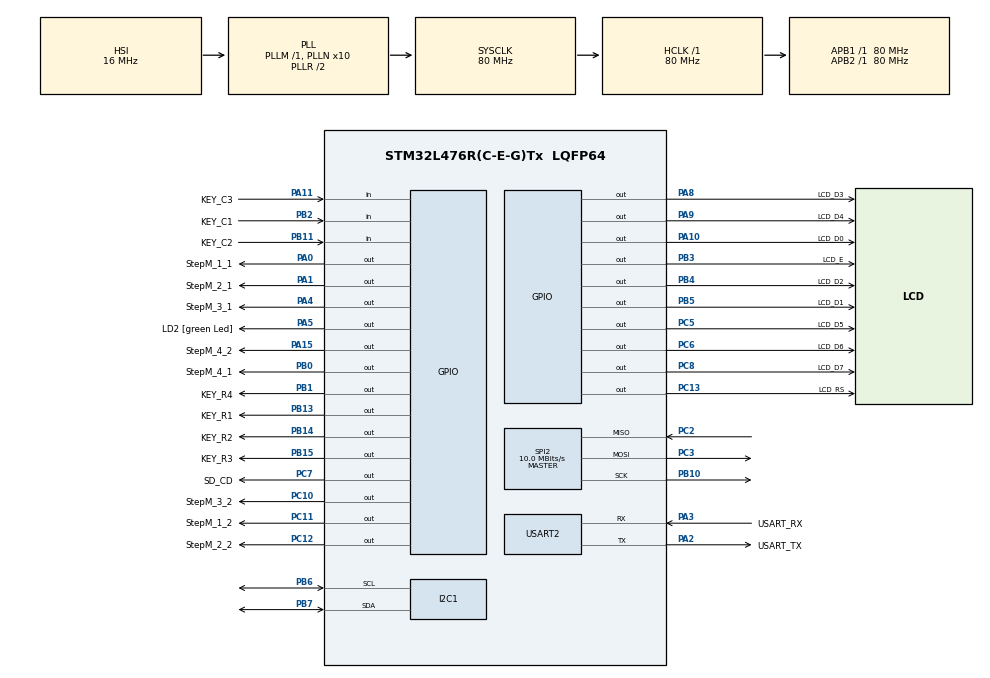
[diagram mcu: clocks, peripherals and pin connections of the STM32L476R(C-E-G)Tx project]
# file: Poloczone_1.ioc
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FATFS._MAX_SS=4096
FATFS._USE_LFN=1
I2C1.Timing=0x10909CEC
Mcu.Family=STM32L4
Mcu.Name=STM32L476R(C-E-G)Tx
Mcu.Package=LQFP64
Mcu.UserConstants=TIM6_PRESCALER,7999;TIM6_PERIOD,9
NVIC.PriorityGroup=NVIC_PRIORITYGROUP_4
NVIC.SPI2_IRQn=true\:0\:0\:false\:false\:true\:true\:true
NVIC.TIM6_DAC_IRQn=true\:0\:0\:false\:false\:true\:true\:true
PA0.GPIO_Label=StepM_1_1
PA0.Signal=GPIO_Output
PA1.GPIO_Label=StepM_2_1
PA1.Signal=GPIO_Output
PA10.GPIO_Label=LCD_D0
PA10.Signal=GPIO_Output
PA11.GPIO_Label=KEY_C3
PA11.GPIO_PuPd=GPIO_PULLUP
PA11.Signal=GPIO_Input
PA13\ (JTMS-SWDIO).GPIO_Label=TMS
PA13\ (JTMS-SWDIO).Mode=Serial_Wire
PA13\ (JTMS-SWDIO).Signal=SYS_JTMS-SWDIO
PA14\ (JTCK-SWCLK).GPIO_Label=TCK
PA14\ (JTCK-SWCLK).Mode=Serial_Wire
PA14\ (JTCK-SWCLK).Signal=SYS_JTCK-SWCLK
PA15\ (JTDI).GPIO_Label=StepM_4_2
PA15\ (JTDI).Signal=GPIO_Output
PA2.GPIO_Label=USART_TX
PA2.GPIO_Mode=GPIO_MODE_AF_PP
PA2.GPIO_PuPd=GPIO_NOPULL
PA2.GPIO_Speed=GPIO_SPEED_FREQ_VERY_HIGH
PA2.Mode=Asynchronous
PA2.Signal=USART2_TX
PA3.GPIO_Label=USART_RX
PA3.GPIO_Mode=GPIO_MODE_AF_PP
PA3.GPIO_PuPd=GPIO_NOPULL
PA3.GPIO_Speed=GPIO_SPEED_FREQ_VERY_HIGH
PA3.Mode=Asynchronous
PA3.Signal=USART2_RX
PA4.GPIO_Label=StepM_3_1
PA4.Signal=GPIO_Output
PA5.GPIO_Label=LD2 [green Led]
PA5.GPIO_ModeDefaultOutputPP=GPIO_MODE_OUTPUT_PP
PA5.GPIO_PuPd=GPIO_NOPULL
PA5.GPIO_Speed=GPIO_SPEED_FREQ_LOW
PA5.Signal=GPIO_Output
PA8.GPIO_Label=LCD_D3
PA8.Signal=GPIO_Output
PA9.GPIO_Label=LCD_D4
PA9.Signal=GPIO_Output
PB0.GPIO_Label=StepM_4_1
PB0.Signal=GPIO_Output
PB1.GPIO_Label=KEY_R4
PB1.Signal=GPIO_Output
PB10.Mode=Full_Duplex_Master
PB10.Signal=SPI2_SCK
PB11.GPIO_Label=KEY_C2
PB11.GPIO_PuPd=GPIO_PULLUP
PB11.Signal=GPIO_Input
PB13.GPIO_Label=KEY_R1
PB13.Signal=GPIO_Output
PB14.GPIO_Label=KEY_R2
PB14.Signal=GPIO_Output
PB15.GPIO_Label=KEY_R3
PB15.Signal=GPIO_Output
PB2.GPIO_Label=KEY_C1
PB2.GPIO_PuPd=GPIO_PULLUP
PB2.Signal=GPIO_Input
PB3\ (JTDO-TRACESWO).GPIO_Label=LCD_E
PB3\ (JTDO-TRACESWO).Signal=GPIO_Output
PB4\ (NJTRST).GPIO_Label=LCD_D2
PB4\ (NJTRST).Signal=GPIO_Output
PB5.GPIO_Label=LCD_D1
PB5.Signal=GPIO_Output
PB6.Mode=I2C
PB6.Signal=I2C1_SCL
PB7.Mode=I2C
PB7.Signal=I2C1_SDA
PC10.GPIO_Label=StepM_3_2
PC10.Signal=GPIO_Output
PC11.GPIO_Label=StepM_1_2
PC11.Signal=GPIO_Output
PC12.GPIO_Label=StepM_2_2
PC12.Signal=GPIO_Output
PC13.GPIO_Label=LCD_RS
PC13.Signal=GPIO_Output
PC14-OSC32_IN\ (PC14).Mode=LSE-External-Oscillator
PC14-OSC32_IN\ (PC14).Signal=RCC_OSC32_IN
PC15-OSC32_OUT\ (PC15).Mode=LSE-External-Oscillator
PC15-OSC32_OUT\ (PC15).Signal=RCC_OSC32_OUT
PC2.Mode=Full_Duplex_Master
PC2.Signal=SPI2_MISO
PC3.Mode=Full_Duplex_Master
PC3.Signal=SPI2_MOSI
PC5.GPIO_Label=LCD_D5
PC5.Signal=GPIO_Output
PC6.GPIO_Label=LCD_D6
PC6.Signal=GPIO_Output
PC7.GPIO_Label=SD_CD
PC7.GPIO_Speed=GPIO_SPEED_FREQ_MEDIUM
PC7.PinState=GPIO_PIN_SET
PC7.Signal=GPIO_Output
PC8.GPIO_Label=LCD_D7
PC8.Signal=GPIO_Output
PH0-OSC_IN\ (PH0).Signal=RCC_OSC_IN
PH1-OSC_OUT\ (PH1).Signal=RCC_OSC_OUT
ProjectManager.HeapSize=0x200
ProjectManager.StackSize=0x400
ProjectManager.TargetToolchain=STM32CubeIDE
RCC.ADCFreq_Value=64000000
RCC.AHBFreq_Value=80000000
RCC.APB1Freq_Value=80000000
RCC.APB1TimFreq_Value=80000000
RCC.APB2Freq_Value=80000000
RCC.APB2TimFreq_Value=80000000
RCC.CortexFreq_Value=80000000
RCC.HCLKFreq_Value=80000000
RCC.HSE_VALUE=8000000
RCC.HSI_VALUE=16000000
RCC.MSI_VALUE=4000000
RCC.PLLN=10
RCC.PLLSourceVirtual=RCC_PLLSOURCE_HSI
RCC.PREFETCH_ENABLE=1
RCC.SYSCLKFreq_VALUE=80000000
RCC.SYSCLKSource=RCC_SYSCLKSOURCE_PLLCLK
RCC.USBFreq_Value=64000000
RCC.VCOOutputFreq_Value=160000000
SPI2.BaudRatePrescaler=SPI_BAUDRATEPRESCALER_8
SPI2.CalculateBaudRate=10.0 MBits/s
SPI2.DataSize=SPI_DATASIZE_8BIT
SPI2.Direction=SPI_DIRECTION_2LINES
SPI2.Mode=SPI_MODE_MASTER
SPI2.VirtualType=VM_MASTER
TIM6.AutoReloadPreload=TIM_AUTORELOAD_PRELOAD_ENABLE
TIM6.Period=TIM6_PERIOD
TIM6.Prescaler=TIM6_PRESCALER
USART2.VirtualMode-Asynchronous=VM_ASYNC
VP_FATFS_VS_Generic.Mode=User_defined
VP_TIM6_VS_ClockSourceINT.Mode=Enable_Timer
board=NUCLEO-L476RG

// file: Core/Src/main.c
/* USER CODE BEGIN Header */
/**
  ******************************************************************************
  * @file           : main.c
  * @brief          : Main program body
  ******************************************************************************
  * @attention
  *
  * <h2><center>&copy; Copyright (c) 2022 STMicroelectronics.
  * All rights reserved.</center></h2>
  *
  * This software component is licensed by ST under BSD 3-Clause license,
  * the "License"; You may not use this file except in compliance with the
  * License. You may obtain a copy of the License at:
  *                        opensource.org/licenses/BSD-3-Clause
  *
  ******************************************************************************
  */
/* USER CODE END Header */
#include "main.h"
#include "fatfs.h"
#include "i2c.h"
#include "spi.h"
#include "tim.h"
#include "usart.h"
#include "gpio.h"

/* USER CODE BEGIN Includes */
#include <stdio.h>
#include <string.h>
#include <stdint.h>
#include <math.h>
#include <fatfs_sd.h>
#include "vl53l0x_api.h"
#include "StepMotor.h"
#include "com.h"
/* USER CODE END Includes */

/* USER CODE BEGIN PV */

// KARTA SD

SPI_HandleTypeDef hspi2;
FATFS fs;
FATFS *pfs;
FIL fil;
FRESULT fres;
DWORD fre_clust;
uint32_t totalSpace, freeSpace;
char buffer[100];
WORD bytes_written;
unsigned int bw;

char name[40];
uint16_t b = 0;

//DALMIERZ

uint8_t Message[64];
uint8_t MessageLen;

VL53L0X_RangingMeasurementData_t RangingData;
VL53L0X_Dev_t  vl53l0x_c; // center module
VL53L0X_DEV    Dev = &vl53l0x_c;

char text[20];										// Tablica pomocnicza
int16_t pomiar = 0;								// Zmienne pomocnicze
int16_t licznik = 0;
int16_t Ppros = 0;								// Dlugosc przeciwprostokatnej

int16_t x = 0;									// Wspolrzedne punktu
int16_t y = 0;
int16_t z = 0;

int16_t r = 130;									// Odleglosc czujnika od srodka
float kat = 0;

/* USER CODE END PV */

void SystemClock_Config(void);
/* USER CODE BEGIN PFP */
void kalibruj();
int _write(int file, char *ptr, int len);
/* USER CODE END PFP */

int main(void)
{
  /* USER CODE BEGIN 1 */

	//
	// VL53L0X initialisation stuff
	//

    uint32_t refSpadCount;
    uint8_t isApertureSpads;
    uint8_t VhvSettings;
    uint8_t PhaseCal;

  /* USER CODE END 1 */

  /* MCU Configuration--------------------------------------------------------*/

  /* Reset of all peripherals, Initializes the Flash interface and the Systick. */
  HAL_Init();

  /* Configure the system clock */
  SystemClock_Config();

  /* Initialize all configured peripherals */
  MX_GPIO_Init();
  MX_USART2_UART_Init();
  MX_SPI2_Init();
  MX_FATFS_Init();
  MX_I2C1_Init();
  MX_TIM6_Init();
  /* USER CODE BEGIN 2 */

  LCD_go();

  LCD_clear();

  word("    Skaner 3D");

  HAL_Delay(4000);

  LCD_clear();

  Dev->I2cHandle = &hi2c1;
  Dev->I2cDevAddr = 0x52;

  VL53L0X_WaitDeviceBooted( Dev );
  VL53L0X_DataInit( Dev );
  VL53L0X_StaticInit( Dev );
  VL53L0X_PerformRefCalibration(Dev, &VhvSettings, &PhaseCal);
  VL53L0X_PerformRefSpadManagement(Dev, &refSpadCount, &isApertureSpads);
  VL53L0X_SetDeviceMode(Dev, VL53L0X_DEVICEMODE_SINGLE_RANGING);

  // Enable/Disable Sigma and Signal check
  VL53L0X_SetLimitCheckEnable(Dev, VL53L0X_CHECKENABLE_SIGMA_FINAL_RANGE, 1);
  VL53L0X_SetLimitCheckEnable(Dev, VL53L0X_CHECKENABLE_SIGNAL_RATE_FINAL_RANGE, 1);
  VL53L0X_SetLimitCheckValue(Dev, VL53L0X_CHECKENABLE_SIGNAL_RATE_FINAL_RANGE, (FixPoint1616_t)(0.1*65536));
  VL53L0X_SetLimitCheckValue(Dev, VL53L0X_CHECKENABLE_SIGMA_FINAL_RANGE, (FixPoint1616_t)(60*65536));
  VL53L0X_SetMeasurementTimingBudgetMicroSeconds(Dev, 33000);
  VL53L0X_SetVcselPulsePeriod(Dev, VL53L0X_VCSEL_PERIOD_PRE_RANGE, 18);
  VL53L0X_SetVcselPulsePeriod(Dev, VL53L0X_VCSEL_PERIOD_FINAL_RANGE, 14);

  LCD_clear();
  word("Podaj nazwe:");
  HAL_Delay(2000);
  LCD_clear();

  char a = '#';
  int flaga = 1;
  uint16_t licz = 0;
  char str[50] = "\0";
  //char ch = 'u';

  while(flaga){

	  licz++;
      a = alphanum();

      if(a == '#'){

    	  printf("Udalo sie!\n\r");
    	  flaga = 0;
      }
      else{
    	  LCD_clear();
    	  strncat(str, &a, 1);
    	  str[strlen(str)] = '\0';
    	  word(str);
      }
  }

  HAL_Delay(500);
  fres = f_mount(&fs, "0", 1);

  do{
	  sprintf(name, "%s.txt",str);				// Tworzenie nowego pliku o danej nazwie
	  fres = f_open(&fil, name, FA_WRITE | FA_CREATE_NEW);
	  f_sync(&fil);									// Tworzenie pliku tekstowego

	  if(fres!=0){
		  b++;
		  sprintf(name, "%s%d.txt",str,b);				// Tworzenie nowego pliku o danej nazwie
		  fres = f_open(&fil, name, FA_WRITE | FA_CREATE_NEW);
		  f_sync(&fil);
		  if(b>9){										// Możliwe jest stworzenie 10 plików
			  LCD_clear();
			  word("Nie mozna");
			  HAL_Delay(2000);
			  LCD_clear();
			  word("stworzyc pliku!");
			  return 0;
		  }
	  }

  }while(fres!=0);

  kalibruj();
  a = 0;

  HAL_Delay(2000);
  LCD_clear();
  word("Nacisnij: #");

  while(a != '#'){
	  a = alphanum();
	  HAL_Delay(10);
  }					// Czekanie na reakcje użytkownika

  LCD_clear();
  word("    Skanuje");

	while((z<20)&&(licznik<40)){						// Pętla powtarzająca się 20 razu
		for(int a=1; a<65 ;a++){

			VL53L0X_PerformSingleRangingMeasurement(Dev, &RangingData);

			if(RangingData.RangeStatus == 0){
				pomiar = RangingData.RangeMilliMeter-20;
			}

			if(pomiar<r){								// Odrzucanie błędnych pomiarów
				licznik = 0;
				kat = (2*M_PI*a*8)/512;					// Oblicza kąt w radianach
				Ppros = r - pomiar;						// Oblicza odległosc od srodka silnika krokowego
				x = Ppros*cosf(kat);					// Wspolrzedna X
				y = Ppros*sinf(kat);					// Wspolrzedna Y
				sprintf(buffer, "%d,%d,%d\n",x,y,3*z );	// Zapisanie wspolrzednych do bufora
				f_write(&fil, buffer, sizeof(char)*strlen(buffer), &bw);  // Zapisanie bufora na karte SD

				f_sync(&fil);							// Funkcja zabezpieczajaca otwerty plik txt w razie naglego unieruchomienia
			}											// Zapisane dane nie zostaja stracone
			else{
				licznik++;								// Zwiekszenie licznika
			}
			half_step_motor_right(8,1);					// Obrot silnikiem krokowym
			//half_step_motor_right(512,1);

		}

		z++;											// Zwiekszenie zakresu

		printf("Z %d z 20 \r\n",z );				    // Wsywietla komunikat

		SM_reset();
		half_step_motor_right(1024,2);					// uruchamia 2 silnik krokowy
		SM_reset();
  }

  fres = f_close (&fil);									// Zamyka plik txt

  LCD_clear();
  word("   Zakonczono");

  return 0;

  /* USER CODE END 2 */

  /* Infinite loop */
  while (1)
  {

  }
}

void SystemClock_Config(void)
{
  RCC_OscInitTypeDef RCC_OscInitStruct = {0};
  RCC_ClkInitTypeDef RCC_ClkInitStruct = {0};
  RCC_PeriphCLKInitTypeDef PeriphClkInit = {0};

  /** Initializes the RCC Oscillators according to the specified parameters
  * in the RCC_OscInitTypeDef structure.
  */
  RCC_OscInitStruct.OscillatorType = RCC_OSCILLATORTYPE_HSI;
  RCC_OscInitStruct.HSIState = RCC_HSI_ON;
  RCC_OscInitStruct.HSICalibrationValue = RCC_HSICALIBRATION_DEFAULT;
  RCC_OscInitStruct.PLL.PLLState = RCC_PLL_ON;
  RCC_OscInitStruct.PLL.PLLSource = RCC_PLLSOURCE_HSI;
  RCC_OscInitStruct.PLL.PLLM = 1;
  RCC_OscInitStruct.PLL.PLLN = 10;
  RCC_OscInitStruct.PLL.PLLP = RCC_PLLP_DIV7;
  RCC_OscInitStruct.PLL.PLLQ = RCC_PLLQ_DIV2;
  RCC_OscInitStruct.PLL.PLLR = RCC_PLLR_DIV2;
  if (HAL_RCC_OscConfig(&RCC_OscInitStruct) != HAL_OK)
  {
    Error_Handler();
  }
  /** Initializes the CPU, AHB and APB buses clocks
  */
  RCC_ClkInitStruct.ClockType = RCC_CLOCKTYPE_HCLK|RCC_CLOCKTYPE_SYSCLK
                              |RCC_CLOCKTYPE_PCLK1|RCC_CLOCKTYPE_PCLK2;
  RCC_ClkInitStruct.SYSCLKSource = RCC_SYSCLKSOURCE_PLLCLK;
  RCC_ClkInitStruct.AHBCLKDivider = RCC_SYSCLK_DIV1;
  RCC_ClkInitStruct.APB1CLKDivider = RCC_HCLK_DIV1;
  RCC_ClkInitStruct.APB2CLKDivider = RCC_HCLK_DIV1;

  if (HAL_RCC_ClockConfig(&RCC_ClkInitStruct, FLASH_LATENCY_4) != HAL_OK)
  {
    Error_Handler();
  }
  PeriphClkInit.PeriphClockSelection = RCC_PERIPHCLK_USART2|RCC_PERIPHCLK_I2C1;
  PeriphClkInit.Usart2ClockSelection = RCC_USART2CLKSOURCE_PCLK1;
  PeriphClkInit.I2c1ClockSelection = RCC_I2C1CLKSOURCE_PCLK1;
  if (HAL_RCCEx_PeriphCLKConfig(&PeriphClkInit) != HAL_OK)
  {
    Error_Handler();
  }
  /** Configure the main internal regulator output voltage
  */
  if (HAL_PWREx_ControlVoltageScaling(PWR_REGULATOR_VOLTAGE_SCALE1) != HAL_OK)
  {
    Error_Handler();
  }
}

/* USER CODE BEGIN 4 */

void kalibruj(){

	uint8_t flaga = 1;
	LCD_clear();
	word("   Kalibracja");				// Wyswietla komunikat

	while(flaga){

		half_step_motor_left(256,2);			// uruchamia silnik krokowy
		SM_reset();

		  VL53L0X_PerformSingleRangingMeasurement(Dev, &RangingData);

		  if(RangingData.RangeStatus == 0){
			  if(RangingData.RangeMilliMeter < 200){						// Jezeli pomiar jest mniejszy od 20cm
				flaga = 0;
				LCD_clear();
				word("  Skalibrowano");	// Wyswietla komunikat
			}
		}
	}

	half_step_motor_right(512,2);				// Uruchamia 2 silnik krokowy
	SM_reset();
}

int _write(int file, char *ptr, int len){

	  if(HAL_UART_Transmit(&huart2, (uint8_t *) ptr, len, 100) != HAL_OK){
		  Error_Handler();
	  }
	return len;
}

/* USER CODE END 4 */

void Error_Handler(void)
{
}

/************************ (C) COPYRIGHT STMicroelectronics *****END OF FILE****/
